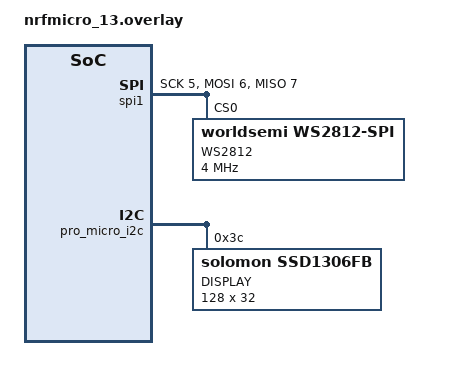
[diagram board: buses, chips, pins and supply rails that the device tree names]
&spi1 {
  compatible = "nordic,nrf-spim";
  status = "okay";
  mosi-pin = <6>; //pin 0.06
  // Unused pins, needed for SPI definition, but not used by the ws2812 driver itself.
  sck-pin = <5>;
  miso-pin = <7>;

  led_strip: ws2812@0 {
    compatible = "worldsemi,ws2812-spi";
    label = "WS2812";

    /* SPI */
    reg = <0>; /* ignored, but necessary for SPI bindings */
    spi-max-frequency = <4000000>;

    /* WS2812 */
    chain-length = <11>; /* number of LEDs */
    spi-one-frame = <0x70>;
    spi-zero-frame = <0x40>;
  };
};

/ {
    chosen {
        zmk,underglow = &led_strip;
    };
};

&pro_micro_i2c {
	status = "okay";

	oled: ssd1306@3c {
		compatible = "solomon,ssd1306fb";
		reg = <0x3c>;
		label = "DISPLAY";
		width = <128>;
		height = <32>;
		segment-offset = <0>;
		page-offset = <0>;
		display-offset = <0>;
		multiplex-ratio = <31>;
		segment-remap;
		com-invdir;
		com-sequential;
		prechargep = <0x22>;
	};
};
